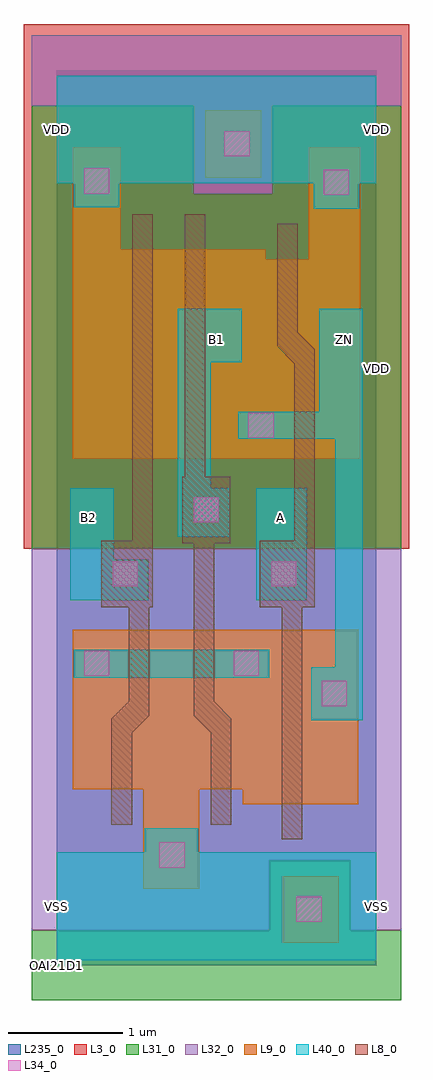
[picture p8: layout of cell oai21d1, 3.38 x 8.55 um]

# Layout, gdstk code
import gdstk
lib = gdstk.Library(unit=1e-6, precision=1e-09)
def R(c, l, rs):  # rectangles x0, y0, x1, y1
    for r in rs: c.add(gdstk.rectangle(r[:2], r[2:], *l))
def P(c, l, *ps):  # polygons
    for p in ps: c.add(gdstk.Polygon(p, *l))
L3_0 = (3, 0)
L8_0 = (8, 0)
L9_0 = (9, 0)
L31_0 = (31, 0)
L32_0 = (32, 0)
L34_0 = (34, 0)
L40_0 = (40, 0)
L235_0 = (235, 0)

oai21d1 = lib.new_cell('oai21d1')
R(oai21d1, L3_0, [(-0.29,3.65,3.09,8.245)])
P(oai21d1, L8_0, [(1.53,2.16),(1.38,2.31),(1.38,3.695),(1.52,3.695),(1.52,4.28),(1.3,4.28),(1.3,6.58),(1.12,6.58),(1.12,4.28),(1.1,4.28),(1.1,3.695),(1.2,3.695),(1.2,2.185),(1.35,2.035),(1.35,1.23),(1.53,1.23)],
  [(0.66,2.035),(0.81,2.185),(0.81,3.135),(0.84,3.135),(0.84,6.58),(0.66,6.58),(0.66,3.72),(0.39,3.72),(0.39,3.135),(0.63,3.135),(0.63,2.31),(0.48,2.16),(0.48,1.23),(0.66,1.23)],
  [(2.15,3.135),(2.26,3.135),(2.26,5.395),(2.11,5.545),(2.11,6.495),(1.93,6.495),(1.93,5.42),(2.08,5.27),(2.08,3.72),(1.78,3.72),(1.78,3.135),(1.97,3.135),(1.97,1.105),(2.15,1.105)])
R(oai21d1, L9_0, [(1.98,0.195,2.47,0.78), (1.3,6.9,1.79,7.49)])
P(oai21d1, L9_0, [(2.64,2.94),(2.64,1.41),(1.63,1.41),(1.63,1.54),(1.25,1.54),(1.25,0.67),(0.76,0.67),(0.76,1.54),(0.14,1.54),(0.14,2.94)],
  [(2.66,7.165),(2.66,4.435),(0.14,4.435),(0.14,7.165),(0.56,7.165),(0.56,6.27),(1.83,6.27),(1.83,6.185),(2.21,6.185),(2.21,7.165)])
P(oai21d1, L31_0, [(2.57,0.92),(2.57,0.305),(3.02,0.305),(3.02,-0.305),(-0.22,-0.305),(-0.22,0.305),(1.86,0.305),(1.86,0.92)],
  [(3.02,7.53),(3.02,3.65),(-0.22,3.65),(-0.22,7.53),(1.2,7.53),(1.2,6.76),(1.89,6.76),(1.89,7.53)])
P(oai21d1, L32_0, [(3.02,3.65),(3.02,0.305),(2.57,0.305),(2.57,0.92),(1.86,0.92),(1.86,0.305),(-0.22,0.305),(-0.22,3.65)],
  [(3.02,8.145),(3.02,7.53),(1.89,7.53),(1.89,6.76),(1.2,6.76),(1.2,7.53),(-0.22,7.53),(-0.22,8.145)])
R(oai21d1, L34_0, [(2.1,0.38,2.32,0.6), (0.9,0.855,1.12,1.075), (2.32,2.27,2.54,2.49), (0.24,2.535,0.46,2.755), (1.55,2.535,1.77,2.755), (0.49,3.32,0.71,3.54), (1.88,3.32,2.1,3.54), (1.2,3.88,1.42,4.1), (1.68,4.62,1.9,4.84), (2.34,6.75,2.56,6.97), (0.24,6.76,0.46,6.98), (1.47,7.085,1.69,7.305)])
R(oai21d1, L40_0, [(0.15,2.52,1.86,2.765), (1.75,3.195,2.19,4.18)])
P(oai21d1, L40_0, [(0,6.85),(0.15,6.85),(0.15,6.64),(0.55,6.64),(0.55,6.85),(2.25,6.85),(2.25,6.625),(2.65,6.625),(2.65,6.85),(2.8,6.85),(2.8,7.79),(0,7.79)],
  [(2.3,4.85),(1.59,4.85),(1.59,4.61),(2.44,4.61),(2.44,2.61),(2.23,2.61),(2.23,2.145),(2.68,2.145),(2.68,5.75),(2.3,5.75)],
  [(1.62,5.28),(1.62,5.75),(1.06,5.75),(1.06,3.755),(1.51,3.755),(1.51,4.18),(1.35,4.18),(1.35,5.28)],
  [(0.12,4.18),(0.12,3.195),(0.8,3.195),(0.8,3.55),(0.5,3.55),(0.5,4.18)],
  [(0.77,1.2),(0.77,0.99),(0,0.99),(0,0.045),(2.8,0.045),(2.8,0.99),(1.24,0.99),(1.24,1.2)])
R(oai21d1, L235_0, [(0,0,2.8,7.84)])
oai21d1.add(gdstk.Label('VDD', (2.8,5.23), layer=40, texttype=7))
oai21d1.add(gdstk.Label('VDD', (2.8,5.23), layer=40, texttype=7))
oai21d1.add(gdstk.Label('VDD', (2.8,5.23), layer=40, texttype=7))
oai21d1.add(gdstk.Label('VDD', (2.8,5.23), layer=40, texttype=7))
oai21d1.add(gdstk.Label('VDD', (2.8,5.23), layer=40, texttype=7))
oai21d1.add(gdstk.Label('Copyright (c) 2003, 2004 Synopsys, Inc.', (0,-2.24), layer=96, texttype=0))
oai21d1.add(gdstk.Label('DT. 10-Sep-2002 16:44:37', (0,-1.68), layer=96, texttype=0))
oai21d1.add(gdstk.Label('Rev. 1', (0,-1.12), layer=96, texttype=0))
oai21d1.add(gdstk.Label('2/1 OR-AND-INVERT, 1X DRIVE', (0,-0.56), layer=96, texttype=0))
oai21d1.add(gdstk.Label('OAI21D1', (0,0), layer=96, texttype=0))
oai21d1.add(gdstk.Label('B1', (1.4,5.485), layer=40, texttype=7))
oai21d1.add(gdstk.Label('ZN', (2.52,5.485), layer=40, texttype=7))
oai21d1.add(gdstk.Label('A', (1.96,3.92), layer=40, texttype=7))
oai21d1.add(gdstk.Label('B2', (0.28,3.92), layer=40, texttype=7))
oai21d1.add(gdstk.Label('VSS', (0,0.515), layer=40, texttype=7))
oai21d1.add(gdstk.Label('VDD', (0,7.32), layer=40, texttype=7))
oai21d1.add(gdstk.Label('VSS', (2.8,0.515), layer=40, texttype=7))
oai21d1.add(gdstk.Label('VDD', (2.8,7.32), layer=40, texttype=7))

lib.write_gds('oai21d1.gds')
